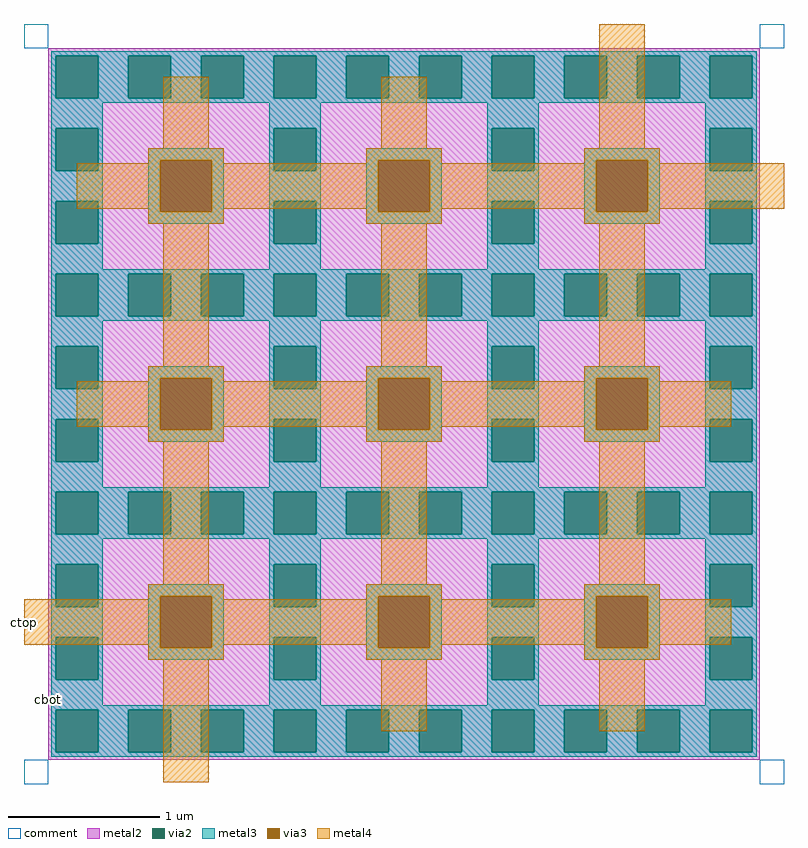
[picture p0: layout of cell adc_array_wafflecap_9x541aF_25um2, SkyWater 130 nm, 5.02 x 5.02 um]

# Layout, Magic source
magic
tech sky130A
<< metal2 >>
rect 16 481 486 486
rect 16 453 21 481
rect 49 453 69 481
rect 97 453 117 481
rect 145 453 165 481
rect 193 453 213 481
rect 241 453 261 481
rect 289 453 309 481
rect 337 453 357 481
rect 385 453 405 481
rect 433 453 453 481
rect 481 453 486 481
rect 16 433 486 453
rect 16 405 21 433
rect 49 405 165 433
rect 193 405 309 433
rect 337 405 453 433
rect 481 405 486 433
rect 16 385 486 405
rect 16 357 21 385
rect 49 357 165 385
rect 193 357 309 385
rect 337 357 453 385
rect 481 357 486 385
rect 16 337 486 357
rect 16 309 21 337
rect 49 309 69 337
rect 97 309 117 337
rect 145 309 165 337
rect 193 309 213 337
rect 241 309 261 337
rect 289 309 309 337
rect 337 309 357 337
rect 385 309 405 337
rect 433 309 453 337
rect 481 309 486 337
rect 16 289 486 309
rect 16 261 21 289
rect 49 261 165 289
rect 193 261 309 289
rect 337 261 453 289
rect 481 261 486 289
rect 16 241 486 261
rect 16 213 21 241
rect 49 213 165 241
rect 193 213 309 241
rect 337 213 453 241
rect 481 213 486 241
rect 16 193 486 213
rect 16 165 21 193
rect 49 165 69 193
rect 97 165 117 193
rect 145 165 165 193
rect 193 165 213 193
rect 241 165 261 193
rect 289 165 309 193
rect 337 165 357 193
rect 385 165 405 193
rect 433 165 453 193
rect 481 165 486 193
rect 16 145 486 165
rect 16 117 21 145
rect 49 117 165 145
rect 193 117 309 145
rect 337 117 453 145
rect 481 117 486 145
rect 16 97 486 117
rect 16 69 21 97
rect 49 69 165 97
rect 193 69 309 97
rect 337 69 453 97
rect 481 69 486 97
rect 16 49 486 69
rect 16 21 21 49
rect 49 21 69 49
rect 97 21 117 49
rect 145 21 165 49
rect 193 21 213 49
rect 241 21 261 49
rect 289 21 309 49
rect 337 21 357 49
rect 385 21 405 49
rect 433 21 453 49
rect 481 21 486 49
rect 16 16 486 21
<< via2 >>
rect 21 453 49 481
rect 69 453 97 481
rect 117 453 145 481
rect 165 453 193 481
rect 213 453 241 481
rect 261 453 289 481
rect 309 453 337 481
rect 357 453 385 481
rect 405 453 433 481
rect 453 453 481 481
rect 21 405 49 433
rect 165 405 193 433
rect 309 405 337 433
rect 453 405 481 433
rect 21 357 49 385
rect 165 357 193 385
rect 309 357 337 385
rect 453 357 481 385
rect 21 309 49 337
rect 69 309 97 337
rect 117 309 145 337
rect 165 309 193 337
rect 213 309 241 337
rect 261 309 289 337
rect 309 309 337 337
rect 357 309 385 337
rect 405 309 433 337
rect 453 309 481 337
rect 21 261 49 289
rect 165 261 193 289
rect 309 261 337 289
rect 453 261 481 289
rect 21 213 49 241
rect 165 213 193 241
rect 309 213 337 241
rect 453 213 481 241
rect 21 165 49 193
rect 69 165 97 193
rect 117 165 145 193
rect 165 165 193 193
rect 213 165 241 193
rect 261 165 289 193
rect 309 165 337 193
rect 357 165 385 193
rect 405 165 433 193
rect 453 165 481 193
rect 21 117 49 145
rect 165 117 193 145
rect 309 117 337 145
rect 453 117 481 145
rect 21 69 49 97
rect 165 69 193 97
rect 309 69 337 97
rect 453 69 481 97
rect 21 21 49 49
rect 69 21 97 49
rect 117 21 145 49
rect 165 21 193 49
rect 213 21 241 49
rect 261 21 289 49
rect 309 21 337 49
rect 357 21 385 49
rect 405 21 433 49
rect 453 21 481 49
<< metal3 >>
rect 18 481 484 484
rect 18 453 21 481
rect 49 453 69 481
rect 97 453 117 481
rect 145 453 165 481
rect 193 453 213 481
rect 241 453 261 481
rect 289 453 309 481
rect 337 453 357 481
rect 385 453 405 481
rect 433 453 453 481
rect 481 453 484 481
rect 18 450 484 453
rect 18 433 52 450
rect 18 405 21 433
rect 49 405 52 433
rect 162 433 196 450
rect 18 385 52 405
rect 18 357 21 385
rect 49 357 52 385
rect 82 412 132 420
rect 82 378 90 412
rect 124 378 132 412
rect 82 370 132 378
rect 162 405 165 433
rect 193 405 196 433
rect 306 433 340 450
rect 162 385 196 405
rect 18 340 52 357
rect 162 357 165 385
rect 193 357 196 385
rect 226 412 276 420
rect 226 378 234 412
rect 268 378 276 412
rect 226 370 276 378
rect 306 405 309 433
rect 337 405 340 433
rect 450 433 484 450
rect 306 385 340 405
rect 162 340 196 357
rect 306 357 309 385
rect 337 357 340 385
rect 370 412 420 420
rect 370 378 378 412
rect 412 378 420 412
rect 370 370 420 378
rect 450 405 453 433
rect 481 405 484 433
rect 450 385 484 405
rect 306 340 340 357
rect 450 357 453 385
rect 481 357 484 385
rect 450 340 484 357
rect 18 337 484 340
rect 18 309 21 337
rect 49 309 69 337
rect 97 309 117 337
rect 145 309 165 337
rect 193 309 213 337
rect 241 309 261 337
rect 289 309 309 337
rect 337 309 357 337
rect 385 309 405 337
rect 433 309 453 337
rect 481 309 484 337
rect 18 306 484 309
rect 18 289 52 306
rect 18 261 21 289
rect 49 261 52 289
rect 162 289 196 306
rect 18 241 52 261
rect 18 213 21 241
rect 49 213 52 241
rect 82 268 132 276
rect 82 234 90 268
rect 124 234 132 268
rect 82 226 132 234
rect 162 261 165 289
rect 193 261 196 289
rect 306 289 340 306
rect 162 241 196 261
rect 18 196 52 213
rect 162 213 165 241
rect 193 213 196 241
rect 226 268 276 276
rect 226 234 234 268
rect 268 234 276 268
rect 226 226 276 234
rect 306 261 309 289
rect 337 261 340 289
rect 450 289 484 306
rect 306 241 340 261
rect 162 196 196 213
rect 306 213 309 241
rect 337 213 340 241
rect 370 268 420 276
rect 370 234 378 268
rect 412 234 420 268
rect 370 226 420 234
rect 450 261 453 289
rect 481 261 484 289
rect 450 241 484 261
rect 306 196 340 213
rect 450 213 453 241
rect 481 213 484 241
rect 450 196 484 213
rect 18 193 484 196
rect 18 165 21 193
rect 49 165 69 193
rect 97 165 117 193
rect 145 165 165 193
rect 193 165 213 193
rect 241 165 261 193
rect 289 165 309 193
rect 337 165 357 193
rect 385 165 405 193
rect 433 165 453 193
rect 481 165 484 193
rect 18 162 484 165
rect 18 145 52 162
rect 18 117 21 145
rect 49 117 52 145
rect 162 145 196 162
rect 18 97 52 117
rect 18 69 21 97
rect 49 69 52 97
rect 82 124 132 132
rect 82 90 90 124
rect 124 90 132 124
rect 82 82 132 90
rect 162 117 165 145
rect 193 117 196 145
rect 306 145 340 162
rect 162 97 196 117
rect 18 52 52 69
rect 162 69 165 97
rect 193 69 196 97
rect 226 124 276 132
rect 226 90 234 124
rect 268 90 276 124
rect 226 82 276 90
rect 306 117 309 145
rect 337 117 340 145
rect 450 145 484 162
rect 306 97 340 117
rect 162 52 196 69
rect 306 69 309 97
rect 337 69 340 97
rect 370 124 420 132
rect 370 90 378 124
rect 412 90 420 124
rect 370 82 420 90
rect 450 117 453 145
rect 481 117 484 145
rect 450 97 484 117
rect 306 52 340 69
rect 450 69 453 97
rect 481 69 484 97
rect 450 52 484 69
rect 18 49 484 52
rect 18 21 21 49
rect 49 21 69 49
rect 97 21 117 49
rect 145 21 165 49
rect 193 21 213 49
rect 241 21 261 49
rect 289 21 309 49
rect 337 21 357 49
rect 385 21 405 49
rect 433 21 453 49
rect 481 21 484 49
rect 18 18 484 21
<< via3 >>
rect 90 378 124 412
rect 234 378 268 412
rect 378 378 412 412
rect 90 234 124 268
rect 234 234 268 268
rect 378 234 412 268
rect 90 90 124 124
rect 234 90 268 124
rect 378 90 412 124
<< metal4 >>
rect 92 420 122 467
rect 236 420 266 467
rect 380 420 410 502
rect 82 412 132 420
rect 82 410 90 412
rect 35 380 90 410
rect 82 378 90 380
rect 124 410 132 412
rect 226 412 276 420
rect 226 410 234 412
rect 124 380 234 410
rect 124 378 132 380
rect 82 370 132 378
rect 226 378 234 380
rect 268 410 276 412
rect 370 412 420 420
rect 370 410 378 412
rect 268 380 378 410
rect 268 378 276 380
rect 226 370 276 378
rect 370 378 378 380
rect 412 410 420 412
rect 412 380 502 410
rect 412 378 420 380
rect 370 370 420 378
rect 92 276 122 370
rect 236 276 266 370
rect 380 276 410 370
rect 82 268 132 276
rect 82 266 90 268
rect 35 236 90 266
rect 82 234 90 236
rect 124 266 132 268
rect 226 268 276 276
rect 226 266 234 268
rect 124 236 234 266
rect 124 234 132 236
rect 82 226 132 234
rect 226 234 234 236
rect 268 266 276 268
rect 370 268 420 276
rect 370 266 378 268
rect 268 236 378 266
rect 268 234 276 236
rect 226 226 276 234
rect 370 234 378 236
rect 412 266 420 268
rect 412 236 467 266
rect 412 234 420 236
rect 370 226 420 234
rect 92 132 122 226
rect 236 132 266 226
rect 380 132 410 226
rect 82 124 132 132
rect 82 122 90 124
rect 0 92 90 122
rect 82 90 90 92
rect 124 122 132 124
rect 226 124 276 132
rect 226 122 234 124
rect 124 92 234 122
rect 124 90 132 92
rect 82 82 132 90
rect 226 90 234 92
rect 268 122 276 124
rect 370 124 420 132
rect 370 122 378 124
rect 268 92 378 122
rect 268 90 276 92
rect 226 82 276 90
rect 370 90 378 92
rect 412 122 420 124
rect 412 92 467 122
rect 412 90 420 92
rect 370 82 420 90
rect 92 1 122 82
rect 236 35 266 82
rect 380 35 410 82
<< comment >>
rect 0 486 16 502
rect 486 486 502 502
rect 0 0 16 16
rect 486 0 502 16
<< labels >>
rlabel metal2 16 56 16 56 7 cbot
port 2 w
rlabel metal4 0 92 0 122 7 ctop
port 1 w
<< end >>
